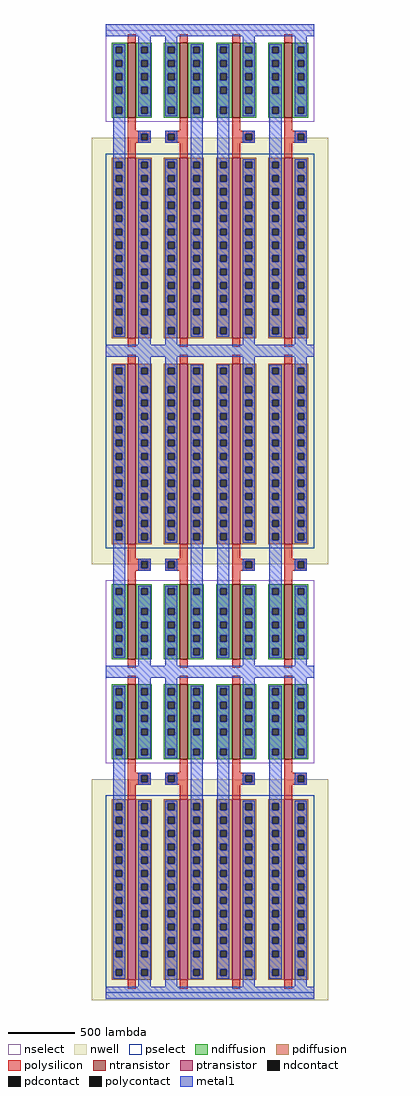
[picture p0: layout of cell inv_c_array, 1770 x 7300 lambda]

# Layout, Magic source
magic
tech amic5n
use inv_c  inv_c_3
transform -1 0 -1505 0 1 -40
box -105 -45 495 2455
use inv_c  inv_c_2
transform 1 0 -1505 0 1 -40
box -105 -45 495 2455
use inv_c  inv_c_1
transform -1 0 -725 0 1 -40
box -105 -45 495 2455
use inv_c  inv_c_0
transform -1 0 -335 0 1 -40
box -105 -45 495 2455
use inv_c  inv_c_9
transform -1 0 -335 0 -1 -40
box -105 -45 495 2455
use inv_c  inv_c_8
transform -1 0 -725 0 -1 -40
box -105 -45 495 2455
use inv_c  inv_c_7
transform 1 0 -1505 0 -1 -40
box -105 -45 495 2455
use inv_c  inv_c_6
transform -1 0 -1505 0 -1 -40
box -105 -45 495 2455
use inv_c  inv_c_11
transform -1 0 -1505 0 -1 4760
box -105 -45 495 2455
use inv_c  inv_c_10
transform 1 0 -1505 0 -1 4760
box -105 -45 495 2455
use inv_c  inv_c_5
transform -1 0 -725 0 -1 4760
box -105 -45 495 2455
use inv_c  inv_c_4
transform -1 0 -335 0 -1 4760
box -105 -45 495 2455
<< end >>

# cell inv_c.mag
magic
tech amic5n
<< nwell >>
rect -105 805 495 2455
<< ntransistor >>
rect 165 95 225 655
<< ptransistor >>
rect 165 955 225 2305
<< nselect >>
rect 0 0 390 685
<< pselect >>
rect 0 925 390 2400
<< ndiffusion >>
rect 45 625 165 655
rect 45 575 75 625
rect 125 575 165 625
rect 45 475 165 575
rect 45 425 75 475
rect 125 425 165 475
rect 45 375 165 425
rect 45 325 75 375
rect 125 325 165 375
rect 45 275 165 325
rect 45 225 75 275
rect 125 225 165 275
rect 45 175 165 225
rect 45 125 75 175
rect 125 125 165 175
rect 45 95 165 125
rect 225 625 345 655
rect 225 575 265 625
rect 315 575 345 625
rect 225 475 345 575
rect 225 425 265 475
rect 315 425 345 475
rect 225 375 345 425
rect 225 325 265 375
rect 315 325 345 375
rect 225 275 345 325
rect 225 225 265 275
rect 315 225 345 275
rect 225 175 345 225
rect 225 125 265 175
rect 315 125 345 175
rect 225 95 345 125
<< pdiffusion >>
rect 45 2275 165 2305
rect 45 2225 75 2275
rect 125 2225 165 2275
rect 45 2135 165 2225
rect 45 2085 75 2135
rect 125 2085 165 2135
rect 45 2035 165 2085
rect 45 1985 75 2035
rect 125 1985 165 2035
rect 45 1935 165 1985
rect 45 1885 75 1935
rect 125 1885 165 1935
rect 45 1835 165 1885
rect 45 1785 75 1835
rect 125 1785 165 1835
rect 45 1735 165 1785
rect 45 1685 75 1735
rect 125 1685 165 1735
rect 45 1635 165 1685
rect 45 1585 75 1635
rect 125 1585 165 1635
rect 45 1535 165 1585
rect 45 1485 75 1535
rect 125 1485 165 1535
rect 45 1435 165 1485
rect 45 1385 75 1435
rect 125 1385 165 1435
rect 45 1335 165 1385
rect 45 1285 75 1335
rect 125 1285 165 1335
rect 45 1235 165 1285
rect 45 1185 75 1235
rect 125 1185 165 1235
rect 45 1135 165 1185
rect 45 1085 75 1135
rect 125 1085 165 1135
rect 45 1035 165 1085
rect 45 985 75 1035
rect 125 985 165 1035
rect 45 955 165 985
rect 225 2275 345 2305
rect 225 2225 265 2275
rect 315 2225 345 2275
rect 225 2135 345 2225
rect 225 2085 265 2135
rect 315 2085 345 2135
rect 225 2035 345 2085
rect 225 1985 265 2035
rect 315 1985 345 2035
rect 225 1935 345 1985
rect 225 1885 265 1935
rect 315 1885 345 1935
rect 225 1835 345 1885
rect 225 1785 265 1835
rect 315 1785 345 1835
rect 225 1735 345 1785
rect 225 1685 265 1735
rect 315 1685 345 1735
rect 225 1635 345 1685
rect 225 1585 265 1635
rect 315 1585 345 1635
rect 225 1535 345 1585
rect 225 1485 265 1535
rect 315 1485 345 1535
rect 225 1435 345 1485
rect 225 1385 265 1435
rect 315 1385 345 1435
rect 225 1335 345 1385
rect 225 1285 265 1335
rect 315 1285 345 1335
rect 225 1235 345 1285
rect 225 1185 265 1235
rect 315 1185 345 1235
rect 225 1135 345 1185
rect 225 1085 265 1135
rect 315 1085 345 1135
rect 225 1035 345 1085
rect 225 985 265 1035
rect 315 985 345 1035
rect 225 955 345 985
<< ndcontact >>
rect 75 575 125 625
rect 75 425 125 475
rect 75 325 125 375
rect 75 225 125 275
rect 75 125 125 175
rect 265 575 315 625
rect 265 425 315 475
rect 265 325 315 375
rect 265 225 315 275
rect 265 125 315 175
<< pdcontact >>
rect 75 2225 125 2275
rect 75 2085 125 2135
rect 75 1985 125 2035
rect 75 1885 125 1935
rect 75 1785 125 1835
rect 75 1685 125 1735
rect 75 1585 125 1635
rect 75 1485 125 1535
rect 75 1385 125 1435
rect 75 1285 125 1335
rect 75 1185 125 1235
rect 75 1085 125 1135
rect 75 985 125 1035
rect 265 2225 315 2275
rect 265 2085 315 2135
rect 265 1985 315 2035
rect 265 1885 315 1935
rect 265 1785 315 1835
rect 265 1685 315 1735
rect 265 1585 315 1635
rect 265 1485 315 1535
rect 265 1385 315 1435
rect 265 1285 315 1335
rect 265 1185 315 1235
rect 265 1085 315 1135
rect 265 985 315 1035
<< polysilicon >>
rect 165 2305 225 2370
rect 165 845 225 955
rect 55 825 225 845
rect 55 775 75 825
rect 125 775 225 825
rect 55 755 225 775
rect 165 655 225 755
rect 165 30 225 95
<< polycontact >>
rect 75 775 125 825
<< metal1 >>
rect 0 2355 390 2445
rect 55 2275 145 2355
rect 55 2225 75 2275
rect 125 2225 145 2275
rect 55 2135 145 2225
rect 55 2085 75 2135
rect 125 2085 145 2135
rect 55 2035 145 2085
rect 55 1985 75 2035
rect 125 1985 145 2035
rect 55 1935 145 1985
rect 55 1885 75 1935
rect 125 1885 145 1935
rect 55 1835 145 1885
rect 55 1785 75 1835
rect 125 1785 145 1835
rect 55 1735 145 1785
rect 55 1685 75 1735
rect 125 1685 145 1735
rect 55 1635 145 1685
rect 55 1585 75 1635
rect 125 1585 145 1635
rect 55 1535 145 1585
rect 55 1485 75 1535
rect 125 1485 145 1535
rect 55 1435 145 1485
rect 55 1385 75 1435
rect 125 1385 145 1435
rect 55 1335 145 1385
rect 55 1285 75 1335
rect 125 1285 145 1335
rect 55 1235 145 1285
rect 55 1185 75 1235
rect 125 1185 145 1235
rect 55 1135 145 1185
rect 55 1085 75 1135
rect 125 1085 145 1135
rect 55 1035 145 1085
rect 55 985 75 1035
rect 125 985 145 1035
rect 55 965 145 985
rect 245 2275 335 2295
rect 245 2225 265 2275
rect 315 2225 335 2275
rect 245 2135 335 2225
rect 245 2085 265 2135
rect 315 2085 335 2135
rect 245 2035 335 2085
rect 245 1985 265 2035
rect 315 1985 335 2035
rect 245 1935 335 1985
rect 245 1885 265 1935
rect 315 1885 335 1935
rect 245 1835 335 1885
rect 245 1785 265 1835
rect 315 1785 335 1835
rect 245 1735 335 1785
rect 245 1685 265 1735
rect 315 1685 335 1735
rect 245 1635 335 1685
rect 245 1585 265 1635
rect 315 1585 335 1635
rect 245 1535 335 1585
rect 245 1485 265 1535
rect 315 1485 335 1535
rect 245 1435 335 1485
rect 245 1385 265 1435
rect 315 1385 335 1435
rect 245 1335 335 1385
rect 245 1285 265 1335
rect 315 1285 335 1335
rect 245 1235 335 1285
rect 245 1185 265 1235
rect 315 1185 335 1235
rect 245 1135 335 1185
rect 245 1085 265 1135
rect 315 1085 335 1135
rect 245 1035 335 1085
rect 245 985 265 1035
rect 315 985 335 1035
rect 55 825 145 845
rect 55 775 75 825
rect 125 775 145 825
rect 55 755 145 775
rect 55 625 145 645
rect 55 575 75 625
rect 125 575 145 625
rect 55 475 145 575
rect 55 425 75 475
rect 125 425 145 475
rect 55 375 145 425
rect 55 325 75 375
rect 125 325 145 375
rect 55 275 145 325
rect 55 225 75 275
rect 125 225 145 275
rect 55 175 145 225
rect 55 125 75 175
rect 125 125 145 175
rect 55 45 145 125
rect 245 625 335 985
rect 245 575 265 625
rect 315 575 335 625
rect 245 475 335 575
rect 245 425 265 475
rect 315 425 335 475
rect 245 375 335 425
rect 245 325 265 375
rect 315 325 335 375
rect 245 275 335 325
rect 245 225 265 275
rect 315 225 335 275
rect 245 175 335 225
rect 245 125 265 175
rect 315 125 335 175
rect 245 105 335 125
rect 0 -45 390 45
<< labels >>
flabel metal1 s 275 725 275 725 2 FreeSans 400 0 0 0 z
port 1 ne
flabel metal1 s 75 -25 75 -25 2 FreeSans 400 0 0 0 vss
port 4 ne
flabel metal1 s 65 2375 65 2375 2 FreeSans 400 0 0 0 vdd
port 3 ne
flabel metal1 s 75 765 75 765 2 FreeSans 400 0 0 0 a
port 2 ne
flabel nwell 365 855 365 855 2 FreeSans 400 0 0 0 vdd
<< end >>
